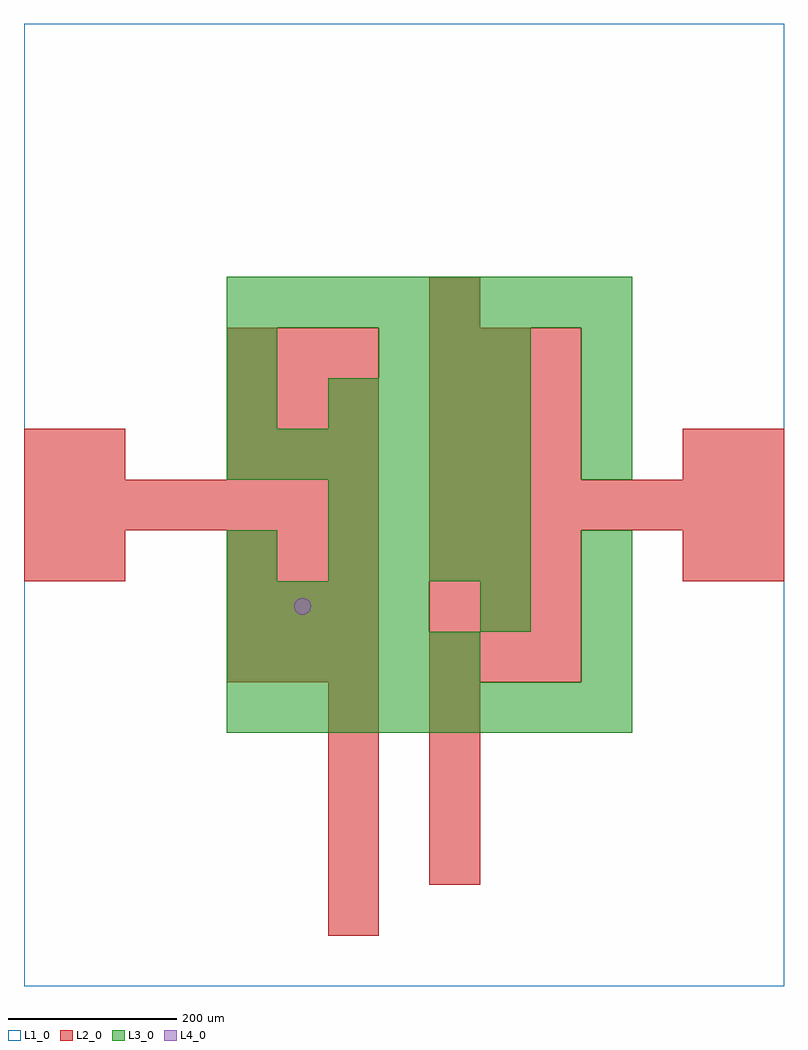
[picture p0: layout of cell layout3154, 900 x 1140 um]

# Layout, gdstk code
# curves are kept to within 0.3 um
import gdstk
lib = gdstk.Library(unit=1e-6, precision=1e-09)
def R(c, l, rs):  # rectangles x0, y0, x1, y1
    for r in rs: c.add(gdstk.rectangle(r[:2], r[2:], *l))
def A(c, l, x, y, w, h, nx, ny, dx, dy):  # array of equal rectangles
    R(c, l, [(x+i*dx, y+j*dy, x+i*dx+w, y+j*dy+h) for i in range(nx) for j in range(ny)])
def P(c, l, *ps):  # polygons
    for p in ps: c.add(gdstk.Polygon(p, *l))
L1_0 = (1, 0)
L2_0 = (2, 0)
L3_0 = (3, 0)
L4_0 = (4, 0)

layout3154 = lib.new_cell('layout3154')
R(layout3154, L1_0, [(0,0,900,1140)])
A(layout3154, L2_0, 360, 60, 60, 60, 1, 5, 0, 60)
A(layout3154, L2_0, 480, 120, 60, 60, 1, 4, 0, 60)
A(layout3154, L2_0, 240, 360, 60, 60, 3, 3, 60, 60)
A(layout3154, L2_0, 480, 360, 60, 60, 3, 3, 60, 60)
A(layout3154, L2_0, 0, 540, 60, 60, 7, 1, 60, 0)
A(layout3154, L2_0, 480, 540, 60, 60, 7, 1, 60, 0)
A(layout3154, L2_0, 240, 600, 60, 60, 3, 3, 60, 60)
A(layout3154, L2_0, 480, 600, 60, 60, 3, 3, 60, 60)
R(layout3154, L2_0, [(0,480,60,540), (60,480,120,540), (780,480,840,540), (840,480,900,540), (0,600,60,660), (60,600,120,660), (780,600,840,660), (840,600,900,660), (480,780,540,840)])
A(layout3154, L3_0, 240, 300, 60, 60, 8, 2, 60, 480)
A(layout3154, L3_0, 240, 360, 60, 60, 5, 1, 60, 0)
A(layout3154, L3_0, 660, 360, 60, 60, 1, 3, 0, 60)
A(layout3154, L3_0, 240, 420, 60, 60, 4, 1, 60, 0)
A(layout3154, L3_0, 360, 480, 60, 60, 4, 2, 60, 60)
A(layout3154, L3_0, 240, 600, 60, 60, 6, 1, 60, 0)
A(layout3154, L3_0, 660, 600, 60, 60, 1, 3, 0, 60)
A(layout3154, L3_0, 360, 660, 60, 60, 4, 1, 60, 0)
A(layout3154, L3_0, 420, 720, 60, 60, 3, 1, 60, 0)
R(layout3154, L3_0, [(540,420,600,480), (240,480,300,540), (240,660,300,720), (240,720,300,780)])
P(layout3154, L4_0, [(340,450),(339.239,453.827),(337.071,457.071),(333.827,459.239),(330,460),(326.173,459.239),(322.929,457.071),(320.761,453.827),(320,450),(320.761,446.173),(322.929,442.929),(326.173,440.761),(330,440),(333.827,440.761),(337.071,442.929),(339.239,446.173)])

lib.write_gds('layout3154.gds')
